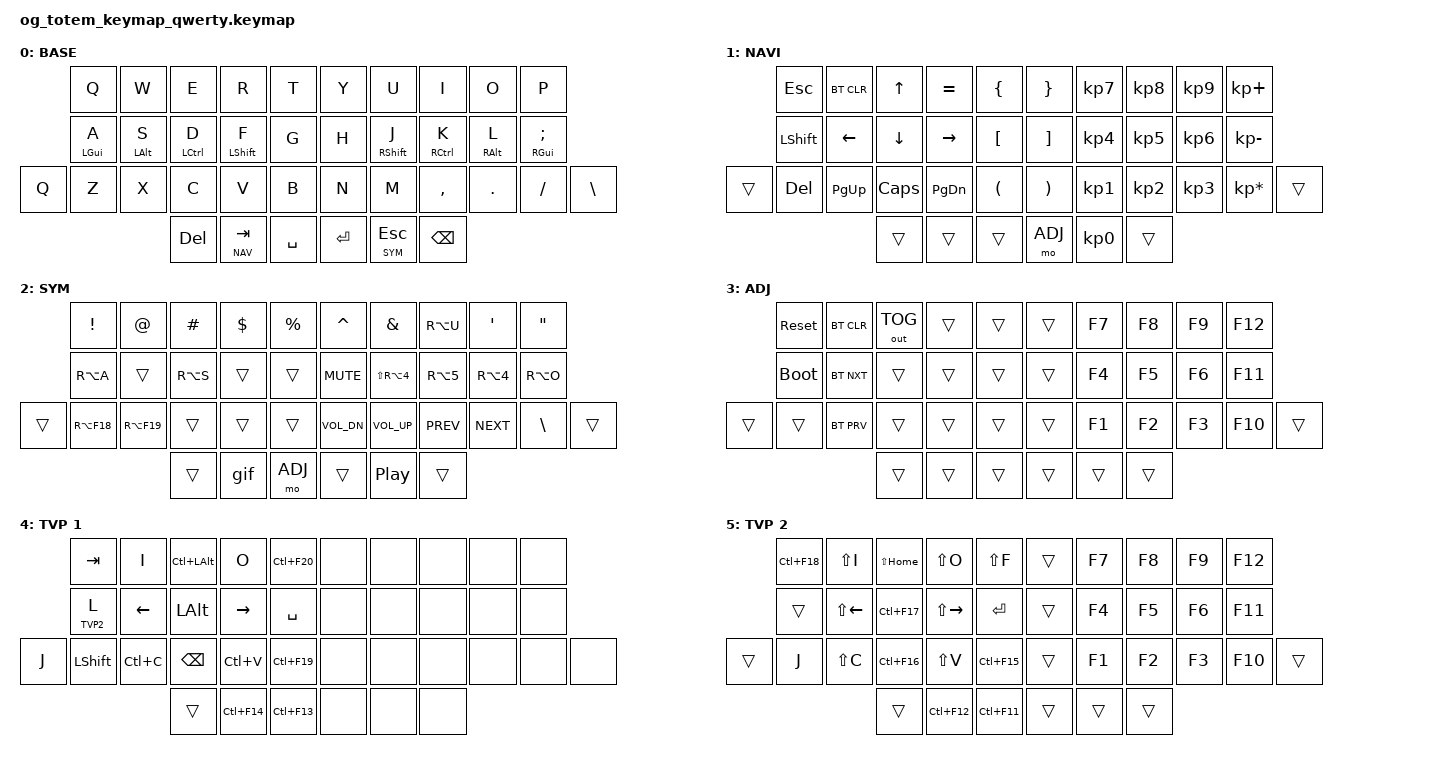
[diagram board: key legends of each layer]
// Based on the TOTEM keymap from https://github.com/GEIGEIGEIST/zmk-config-totem/
// but using QWERTY layout for letters.
//
//                                                        ▀▀▀▀▀     ▀▀▀▀▀          ▀▀█▀▀
//                                                        ▄▀▀▀▄  ▄  ▄▀▀▀▄  ▄  ▄▀▀▀▄  █  ▄▀▀▀▄
//                                                        █   █  █  █   █  █  █   █  █  █   █
//                                                         ▀▀▀   █   ▀▀▀   █   ▀▀▀   ▀   ▀▀▀
//                                                               █      ▄▄▄█▄▄▄    █   █
//                                                               ▀      █  █  █     █▄█
//                                                             ▀▀▀▀▀    █  █  █      ▀
//                                                                      ▀  ▀  ▀
//
// ▄▄▄▄▄▄▄▄▄▄▄▄▄▄▄▄▄▄▄▄▄▄▄▄▄▄▄▄▄▄▄▄▄▄▄▄▄▄▄▄▄▄▄▄▄▄▄▄▄▄▄▄▄▄▄▄▄▄▄▄▄▄▄▄▄▄▄▄▄▄▄▄▄▄▄▄▄▄▄▄▄▄▄▄▄▄▄▄▄▄▄▄▄▄▄▄▄▄▄▄▄▄▄▄▄▄▄▄▄▄▄▄▄▄▄▄▄▄▄▄▄▄▄▄▄▄▄▄▄▄▄▄▄▄▄▄▄▄▄▄▄▄▄▄▄▄▄▄▄


#include <behaviors.dtsi>
#include <dt-bindings/zmk/keys.h>
#include <dt-bindings/zmk/bt.h>
#include <dt-bindings/zmk/outputs.h>

#define BASE 0
#define NAV  1
#define SYM  2
#define ADJ  3
#define TVP1 4
#define TVP2 5

&mt {
  quick-tap-ms = <100>;
  global-quick-tap;
  flavor = "tap-preferred";
  tapping-term-ms = <170>;
};

/ {
     combos {
            compatible = "zmk,combos";
            combo_esc {
                timeout-ms = <50>;
                key-positions = <0 1>;
                bindings = <&kp ESC>;
            };
            combo_tvp {
                timeout-ms = <100>;
                key-positions = <11 12 13>;
                bindings = <&tog TVP1>;
            };
    };

    macros {
        gif: gif {
            display-name = "giphy";
            compatible = "zmk,behavior-macro";
            #binding-cells = <0>;
            bindings
                = <&macro_press &kp LSHFT>
                , <&macro_tap &kp N2>
                , <&macro_release &kp LSHFT>
                , <&macro_tap &kp G &kp I &kp F>
                ;
        };
    };

        keymap {
                compatible = "zmk,keymap";
                base_layer {
                    display-name= "BASE";
                    //    Q  W  E  R  T    Y  U  I  O  P
                    //    A  S  D  F  G    H  J  K  L  ;
                    // Q  Z  X  C  V  B    N  M  ,  .  /  \
                    //      DEL TAB SPC    RET <> BSPC
                    bindings = <
                &kp Q       &kp W       &kp E       &kp R       &kp T           &kp Y       &kp U       &kp I       &kp O       &kp P
                &mt LGUI A  &mt LALT S  &mt LCTRL D &mt LSHFT F &kp G           &kp H       &mt RSHFT J &mt RCTRL K &mt RALT L  &mt RGUI SEMI
    &kp Q       &kp Z       &kp X       &kp C       &kp V       &kp B           &kp N       &kp M       &kp COMMA   &kp DOT     &kp FSLH    &kp BSLH
                                        &kp DEL   &lt NAV TAB   &kp SPACE       &kp RET   &lt SYM ESC   &kp BSPC
                        >;
                };

                nav_layer {
                    display-name= "NAVI";
                    //    ESC BTCLR UP   =    {     }   7  8  9  +
                    //    SFT LEFT  DOWN RGHT [     ]   4  5  6  -
                    // <> DEL PGUP  CAPS PGDN (     )   1  2  3  *  <>
                    //              <>   <>   <>    ADJ 0  <>
                    bindings = <
                &kp ESC     &bt BT_CLR  &kp UP      &kp EQUAL   &kp LBRC        &kp RBRC    &kp KP_N7   &kp KP_N8   &kp KP_N9   &kp KP_PLUS
                &kp LSHFT   &kp LEFT    &kp DOWN    &kp RIGHT   &kp LBKT        &kp RBKT    &kp KP_N4   &kp KP_N5   &kp KP_N6   &kp KP_MINUS
    &trans      &kp DEL     &kp PG_UP   &kp CAPS    &kp PG_DN   &kp LPAR        &kp RPAR    &kp KP_N1   &kp KP_N2   &kp KP_N3   &kp KP_MULTIPLY &trans
                                        &trans      &trans      &trans          &mo ADJ     &kp KP_N0   &trans
                        >;
                };

                sym_layer {
                    display-name= "SYM";
                    //    !    @     #   $   %     ^    &    Ü    '  "
                    //    Ä    <>    ß   <>  <>    MUT  ¥    €    £  Ö
                    // <> EMA1 EMA2  <>  <>  <>    VOL- VOL+ PREV NEXT  \  <>
                    //               <>  GIF ADJ   <>   PLY  <>
                    bindings = <
                &kp EXCL    &kp AT      &kp HASH    &kp DLLR    &kp PRCNT       &kp CARET   &kp AMPS    &kp RA(U)   &kp SQT     &kp DQT
                &kp RA(A)   &trans      &kp RA(S)   &trans      &trans          &kp C_MUTE  &kp LS(RA(N4)) &kp RA(N5) &kp RA(N4)   &kp RA(O)
    &trans      &kp RA(F18) &kp RA(F19) &trans      &trans      &trans          &kp C_VOL_DN &kp C_VOL_UP &kp C_PREV &kp C_NEXT  &kp BSLH   &trans
                                        &trans      &gif        &mo ADJ         &trans      &kp C_PP    &trans
                        >;
                };

                adjust_layer {
                    display-name= "ADJ";
                    //    RESET    BTCLR OUTTOG  <>   <>     <>  F7  F8  F9  F12
                    //    BOOTLOAD BTNXT <>      <>   <>     <>  F4  F5  F6  F11
                    // <> <>       BTPRV <>      <>   <>     <>  F1  F2  F3  F10 <>
                    //                   <>      <>   <>     <>  <>  <>
                    bindings = <
                &sys_reset  &bt BT_CLR &out OUT_TOG &trans      &trans          &trans      &kp F7      &kp F8      &kp F9      &kp F12
                &bootloader &bt BT_NXT  &trans      &trans      &trans          &trans      &kp F4      &kp F5      &kp F6      &kp F11
    &trans      &trans      &bt BT_PRV  &trans      &trans      &trans          &trans      &kp F1      &kp F2      &kp F3      &kp F10     &trans
                                        &trans      &trans      &trans          &trans      &trans      &trans
                        >;
                };

                tvp1_layer {
                    display-name= "TVP 1";
                    //    NFILE MARKI ROTATE MARKO SNAP     x  x  x  x  x
                    //    TVP2  LEFT  PAN   RGHT  FLIP      x  x  x  x  x
                    // J  SHIFT COPY  DEL   PASTE IMG      x  x  x  x  x  x
                    //                <>    UNDO  SEL       x  x  x
                    bindings = <
                &kp TAB     &kp I       &kp LC(LALT) &kp O      &kp LC(F20)     &none       &none       &none       &none       &none
                &lt TVP2 L  &kp LEFT    &kp LALT    &kp RIGHT   &kp SPACE       &none       &none       &none       &none       &none
    &kp J       &kp LSHFT   &kp LC(C)   &kp BSPC    &kp LC(V)   &kp LC(F19)     &none       &none       &none       &none       &none       &none
                                        &trans      &kp LC(F14) &kp LC(F13)     &none       &none       &none
                        >;
                };

                tvp2_layer {
                    display-name= "TVP 2";
                    //    SOLO  TGLIN RSTROT TGLOUT SNAP     <>  F7  F8  F9  F12
                    //    <>    LSTKEY NEWKEY NXTKEY ENTER   <>  F4  F5  F6  F11
                    // <> FULLSCR CPY2BR DELH  PSTIN  BKMRK  <>  F1  F2  F3  F10 <>
                    //                <>    REDO   WARP     <>  <>  <>
                    bindings = <
                &kp LC(F18) &kp LS(I)  &kp LS(HOME) &kp LS(O)   &kp LS(F)       &trans      &kp F7      &kp F8      &kp F9      &kp F12
                &trans      &kp LS(LEFT) &kp LC(F17) &kp LS(RIGHT) &kp RET      &trans      &kp F4      &kp F5      &kp F6      &kp F11
    &trans      &kp J       &kp LS(C)   &kp LC(F16) &kp LS(V)   &kp LC(F15)     &trans      &kp F1      &kp F2      &kp F3      &kp F10     &trans
                                        &trans      &kp LC(F12) &kp LC(F11)     &trans      &trans      &trans
                        >;
                };
        };
};
